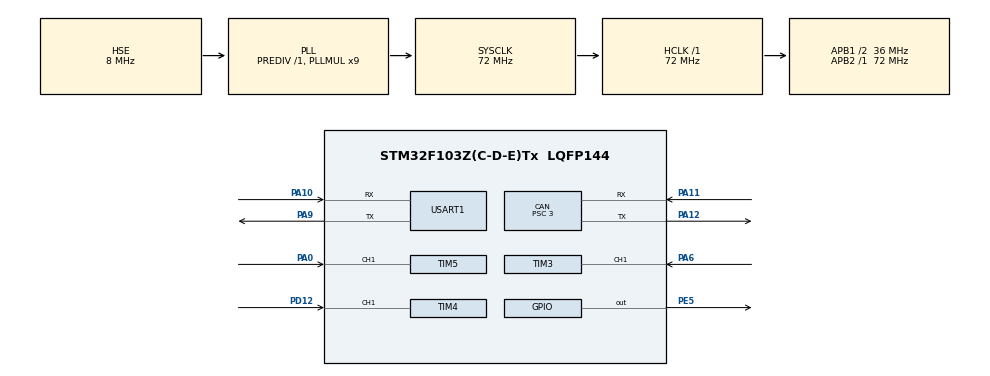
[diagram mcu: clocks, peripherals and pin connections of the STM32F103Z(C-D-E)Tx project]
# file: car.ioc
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CAN.ABOM=ENABLE
CAN.BS1=CAN_BS1_9TQ
CAN.BS2=CAN_BS2_2TQ
CAN.CalculateBaudRate=999999
CAN.CalculateTimeBit=1000
CAN.CalculateTimeQuantum=83.33333333333334
CAN.Prescaler=3
Mcu.Family=STM32F1
Mcu.Name=STM32F103Z(C-D-E)Tx
Mcu.Package=LQFP144
NVIC.CAN1_RX1_IRQn=true\:0\:0\:false\:false\:true\:true\:true\:true
NVIC.PriorityGroup=NVIC_PRIORITYGROUP_4
NVIC.TIM1_UP_IRQn=true\:15\:0\:false\:false\:true\:false\:true\:true
NVIC.TIM2_IRQn=true\:2\:0\:true\:false\:true\:true\:true\:true
NVIC.TIM3_IRQn=true\:0\:0\:false\:false\:true\:true\:true\:true
NVIC.TIM4_IRQn=true\:0\:0\:true\:false\:true\:true\:true\:true
NVIC.TIM5_IRQn=true\:0\:0\:false\:false\:true\:true\:true\:true
NVIC.TimeBase=TIM1_UP_IRQn
NVIC.TimeBaseIP=TIM1
NVIC.USART1_IRQn=true\:0\:0\:true\:false\:true\:true\:true\:true
OSC_IN.Mode=HSE-External-Oscillator
OSC_IN.Signal=RCC_OSC_IN
OSC_OUT.Mode=HSE-External-Oscillator
OSC_OUT.Signal=RCC_OSC_OUT
PA0-WKUP.Signal=S_TIM5_CH1
PA10.Mode=Asynchronous
PA10.Signal=USART1_RX
PA11.Mode=CAN_Activate
PA11.Signal=CAN_RX
PA12.Mode=CAN_Activate
PA12.Signal=CAN_TX
PA13.Mode=Serial_Wire
PA13.Signal=SYS_JTMS-SWDIO
PA14.Mode=Serial_Wire
PA14.Signal=SYS_JTCK-SWCLK
PA6.Signal=S_TIM3_CH1
PA9.Mode=Asynchronous
PA9.Signal=USART1_TX
PC14-OSC32_IN.Mode=LSE-External-Oscillator
PC14-OSC32_IN.Signal=RCC_OSC32_IN
PC15-OSC32_OUT.Mode=LSE-External-Oscillator
PC15-OSC32_OUT.Signal=RCC_OSC32_OUT
PD12.GPIO_PuPd=GPIO_PULLDOWN
PD12.Signal=S_TIM4_CH1
PE5.Signal=GPIO_Output
ProjectManager.HeapSize=0x200
ProjectManager.StackSize=0x400
ProjectManager.TargetToolchain=MDK-ARM V5.32
RCC.AHBFreq_Value=72000000
RCC.APB1CLKDivider=RCC_HCLK_DIV2
RCC.APB1Freq_Value=36000000
RCC.APB1TimFreq_Value=72000000
RCC.APB2Freq_Value=72000000
RCC.APB2TimFreq_Value=72000000
RCC.HCLKFreq_Value=72000000
RCC.PLLMUL=RCC_PLL_MUL9
RCC.PLLSourceVirtual=RCC_PLLSOURCE_HSE
RCC.SYSCLKFreq_VALUE=72000000
RCC.SYSCLKSource=RCC_SYSCLKSOURCE_PLLCLK
RCC.USBFreq_Value=72000000
SH.S_TIM3_CH1.0=TIM3_CH1,Input_Capture1_from_TI1
SH.S_TIM4_CH1.0=TIM4_CH1,Input_Capture1_from_TI1
SH.S_TIM5_CH1.0=TIM5_CH1,Input_Capture1_from_TI1
TIM2.Period=20-1
TIM2.Prescaler=36000-1
TIM3.AutoReloadPreload=TIM_AUTORELOAD_PRELOAD_ENABLE
TIM3.Channel-Input_Capture1_from_TI1=TIM_CHANNEL_1
TIM3.Prescaler=72-1
TIM4.AutoReloadPreload=TIM_AUTORELOAD_PRELOAD_ENABLE
TIM4.Channel-Input_Capture1_from_TI1=TIM_CHANNEL_1
TIM4.Prescaler=72-1
TIM5.AutoReloadPreload=TIM_AUTORELOAD_PRELOAD_ENABLE
TIM5.Channel-Input_Capture1_from_TI1=TIM_CHANNEL_1
TIM5.Prescaler=72-1
USART1.VirtualMode=VM_ASYNC
VP_SYS_VS_tim1.Mode=TIM1
VP_TIM2_VS_ClockSourceINT.Mode=Internal
VP_TIM3_VS_ClockSourceINT.Mode=Internal
VP_TIM4_VS_ClockSourceINT.Mode=Internal
VP_TIM5_VS_ClockSourceINT.Mode=Internal
board=custom

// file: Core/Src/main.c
/* USER CODE BEGIN Header */
/**
  ******************************************************************************
  * @file           : main.c
  * @brief          : Main program body
  ******************************************************************************
  * @attention
  *
  * Copyright (c) 2023 STMicroelectronics.
  * All rights reserved.
  *
  * This software is licensed under terms that can be found in the LICENSE file
  * in the root directory of this software component.
  * If no LICENSE file comes with this software, it is provided AS-IS.
  *
  ******************************************************************************
  */
/* USER CODE END Header */
#include "main.h"
#include "can.h"
#include "tim.h"
#include "usart.h"
#include "gpio.h"

/* USER CODE BEGIN Includes */
#include "control.h"

 #define RXBUFFERSIZE  256
char RxBuffer[RXBUFFERSIZE];
#include <stdio.h>
/* USER CODE END Includes */

/* USER CODE BEGIN PTD */
uint32_t cap_buf_ch1[3]={0};//记录3次捕获的时刻
uint32_t cap_buf_ch2[3]={0};
uint32_t cap_buf_ch3[3]={0};
uint8_t cap_flag=0;//捕获状态
uint8_t ch1=0;//通道捕获标志
uint8_t ch2=0;
uint8_t ch3=0;
double cap_htime_ch1=0;//记录高电平时间
double cap_alltime_ch1=0;//记录一个周期的时间
double cap_htime_ch2=0;
double cap_alltime_ch2=0;
double cap_htime_ch3=0;
double cap_alltime_ch3=0;
uint32_t tim_over=0;//记录溢出次数
double pwm_ch1=0;//记录ch1的pwm占空比
double pwm_ch2=0;//记录ch2的pwm占空比
double pwm_ch3=0;//记录ch3的pwm占空比
short int motor1=0;//记录电机1转速值
short int motor2=0;//记录电机2转速值
short int motor3=0;//记录电机3转速值
short int motor4=0;//记录电机4转速值
short int maximum=20000;
short int diff=0;
double coe=0;
CAN_RxHeaderTypeDef CAN1_RxHander;//声明can接受结构体
CAN_TxHeaderTypeDef CAN1_TxHander;//声明can发送结构体

/* USER CODE END PTD */

/* USER CODE BEGIN PM */
#define IR_IN1 HAL_GPIO_ReadPin(GPIOD,GPIO_PIN_12)
#define IR_IN2 HAL_GPIO_ReadPin(GPIOA,GPIO_PIN_0)
#define IR_IN3 HAL_GPIO_ReadPin(GPIOA,GPIO_PIN_6)
double time_dowmch1_num=0;//下降沿计数
double time_dowmch2_num=0;
double time_dowmch3_num=0;
/* USER CODE END PM */

void SystemClock_Config(void);

/* USER CODE BEGIN 0 */
CAN_TxHeaderTypeDef Can_Tx;
CAN_RxHeaderTypeDef Can_Rx;
int returnRece=0;
uint8_t Rxdata[8];//CAN接收缓冲区
uint8_t Txdata[8] = {0};//CAN发送缓冲区
extern uint8_t can_rx_finish_flag;//接收完成标志位
// 捕获中断回调函数，每次捕获到信号就会进入这个回调函数
void HAL_TIM_IC_CaptureCallback(TIM_HandleTypeDef *htim)
{
 // 判断是否是定时器4的外部捕获口2

 if(htim->Instance == TIM4)
 {
  if(IR_IN1)//第一次上升
  {
   __HAL_TIM_SET_COUNTER(&htim4, 0); // 计数清零，从头开始计
   __HAL_TIM_SET_CAPTUREPOLARITY(&htim4, TIM_CHANNEL_1, TIM_INPUTCHANNELPOLARITY_FALLING); // 改变捕获极性为下降沿捕获
  }
  else if(IR_IN1==0)//下降
  {
   time_dowmch1_num = HAL_TIM_ReadCapturedValue(htim,TIM_CHANNEL_1); // 读取捕获计数，这个时间即为上升沿持续的时间
   HAL_TIM_IC_Stop_IT(&htim4,TIM_CHANNEL_1);//函数用于失能定时器某一通道的输入捕获功能和相应的中断
   __HAL_TIM_SET_CAPTUREPOLARITY(&htim4, TIM_CHANNEL_1, TIM_INPUTCHANNELPOLARITY_RISING); // 改变捕获极性为上升沿沿捕获
  }
 }

 if(htim->Instance == TIM5)
 {
  if(IR_IN2)//第一次上升
  {
   __HAL_TIM_SET_COUNTER(&htim5, 0); // 计数清零，从头开始计
   __HAL_TIM_SET_CAPTUREPOLARITY(&htim5, TIM_CHANNEL_1, TIM_INPUTCHANNELPOLARITY_FALLING); // 改变捕获极性为下降沿捕获
  }
  else if(IR_IN2==0)//下降
  {
   time_dowmch2_num = HAL_TIM_ReadCapturedValue(htim,TIM_CHANNEL_1); // 读取捕获计数，这个时间即为上升沿持续的时间
   HAL_TIM_IC_Stop_IT(&htim5,TIM_CHANNEL_1);//函数用于失能定时器某一通道的输入捕获功能和相应的中断
   __HAL_TIM_SET_CAPTUREPOLARITY(&htim5, TIM_CHANNEL_1, TIM_INPUTCHANNELPOLARITY_RISING); // 改变捕获极性为上升沿沿捕获
  }
 }

  if(htim->Instance == TIM3)
 {
  if(IR_IN3)//第一次上升
  {
   __HAL_TIM_SET_COUNTER(&htim3, 0); // 计数清零，从头开始计
   __HAL_TIM_SET_CAPTUREPOLARITY(&htim3, TIM_CHANNEL_1, TIM_INPUTCHANNELPOLARITY_FALLING); // 改变捕获极性为下降沿捕获
  }
  else if(IR_IN3==0)//下降
  {
   time_dowmch3_num = HAL_TIM_ReadCapturedValue(htim,TIM_CHANNEL_1); // 读取捕获计数，这个时间即为上升沿持续的时间
   HAL_TIM_IC_Stop_IT(&htim3,TIM_CHANNEL_1);//函数用于失能定时器某一通道的输入捕获功能和相应的中断
   __HAL_TIM_SET_CAPTUREPOLARITY(&htim3, TIM_CHANNEL_1, TIM_INPUTCHANNELPOLARITY_RISING); // 改变捕获极性为上升沿沿捕获
  }
 }
}

/* USER CODE END 0 */

int main(void)
{

  /* MCU Configuration--------------------------------------------------------*/

  /* Reset of all peripherals, Initializes the Flash interface and the Systick. */
  HAL_Init();

  /* Configure the system clock */
  SystemClock_Config();

  /* Initialize all configured peripherals */
  MX_GPIO_Init();
  MX_CAN_Init();
  MX_TIM2_Init();
  MX_TIM4_Init();
  MX_USART1_UART_Init();
  MX_TIM3_Init();
  MX_TIM5_Init();
  /* USER CODE BEGIN 2 */

   CAN_User_Init(&hcan);
sendOrder(0x200,CAN_ID_STD,CAN_RTR_DATA,0x08);
   HAL_TIM_IC_Stop_IT(&htim4,TIM_CHANNEL_1);
   HAL_TIM_IC_Stop_IT(&htim5,TIM_CHANNEL_1);
   HAL_TIM_IC_Stop_IT(&htim3,TIM_CHANNEL_1);

/*接收参数*/
receiveOrder(0x201,CAN_ID_STD,0,8);
returnRece=receiveOrder(0x201,CAN_ID_STD,0,8);
         HAL_GPIO_WritePin(GPIOE,GPIO_PIN_5,GPIO_PIN_SET);
          HAL_TIM_IC_Start_IT(&htim4,TIM_CHANNEL_1);//函数用于使能定时器某一通道的输入捕获功能,并使能相应的中断
          pwm_ch1=(time_dowmch1_num-1246)/800;
      HAL_Delay(200);
      printf("ch1:%lf\n",pwm_ch1);
          HAL_TIM_IC_Start_IT(&htim5,TIM_CHANNEL_1);//函数用于使能定时器某一通道的输入捕获功能,并使能相应的中断
          pwm_ch2=(time_dowmch2_num-1098)/800;
      HAL_Delay(200);
      printf("ch2:%lf\n",pwm_ch2);
         HAL_TIM_IC_Start_IT(&htim3,TIM_CHANNEL_1);//函数用于使能定时器某一通道的输入捕获功能,并使能相应的中断
          pwm_ch3=(time_dowmch3_num-1098)/800;
      HAL_Delay(1000);
  /* USER CODE END 2 */

  /* Infinite loop */
  /* USER CODE BEGIN WHILE */
  while (1)
  {
          HAL_TIM_IC_Start_IT(&htim4,TIM_CHANNEL_1);//函数用于使能定时器某一通道的输入捕获功能,并使能相应的中断
          pwm_ch1=(time_dowmch1_num-1246)/800;
          HAL_Delay(10);
          HAL_TIM_IC_Start_IT(&htim5,TIM_CHANNEL_1);//函数用于使能定时器某一通道的输入捕获功能,并使能相应的中断
          pwm_ch2=(time_dowmch2_num-1098)/800;
          HAL_Delay(10);
      printf("ch2:%lf\n",pwm_ch2);
          HAL_TIM_IC_Start_IT(&htim3,TIM_CHANNEL_1);//函数用于使能定时器某一通道的输入捕获功能,并使能相应的中断
          pwm_ch3=(time_dowmch3_num-1098)/800;
          HAL_Delay(10);

          control(pwm_ch1,pwm_ch2,pwm_ch3);
      sendmessage(motor1,motor2,motor3,motor4);
  };
    /* USER CODE END WHILE */

}

void SystemClock_Config(void)
{
  RCC_OscInitTypeDef RCC_OscInitStruct = {0};
  RCC_ClkInitTypeDef RCC_ClkInitStruct = {0};

  /** Initializes the RCC Oscillators according to the specified parameters
  * in the RCC_OscInitTypeDef structure.
  */
  RCC_OscInitStruct.OscillatorType = RCC_OSCILLATORTYPE_HSE;
  RCC_OscInitStruct.HSEState = RCC_HSE_ON;
  RCC_OscInitStruct.HSEPredivValue = RCC_HSE_PREDIV_DIV1;
  RCC_OscInitStruct.HSIState = RCC_HSI_ON;
  RCC_OscInitStruct.PLL.PLLState = RCC_PLL_ON;
  RCC_OscInitStruct.PLL.PLLSource = RCC_PLLSOURCE_HSE;
  RCC_OscInitStruct.PLL.PLLMUL = RCC_PLL_MUL9;
  if (HAL_RCC_OscConfig(&RCC_OscInitStruct) != HAL_OK)
  {
    Error_Handler();
  }

  /** Initializes the CPU, AHB and APB buses clocks
  */
  RCC_ClkInitStruct.ClockType = RCC_CLOCKTYPE_HCLK|RCC_CLOCKTYPE_SYSCLK
                              |RCC_CLOCKTYPE_PCLK1|RCC_CLOCKTYPE_PCLK2;
  RCC_ClkInitStruct.SYSCLKSource = RCC_SYSCLKSOURCE_PLLCLK;
  RCC_ClkInitStruct.AHBCLKDivider = RCC_SYSCLK_DIV1;
  RCC_ClkInitStruct.APB1CLKDivider = RCC_HCLK_DIV2;
  RCC_ClkInitStruct.APB2CLKDivider = RCC_HCLK_DIV1;

  if (HAL_RCC_ClockConfig(&RCC_ClkInitStruct, FLASH_LATENCY_2) != HAL_OK)
  {
    Error_Handler();
  }
}

void HAL_TIM_PeriodElapsedCallback(TIM_HandleTypeDef *htim)
{
  /* USER CODE BEGIN Callback 0 */
  if (htim->Instance == TIM4){
      tim_over++;//每次进入中断溢出值+1
  }
  /* USER CODE END Callback 0 */
  if (htim->Instance == TIM1) {
    HAL_IncTick();
  }
}

void Error_Handler(void)
{
  __disable_irq();
  while (1)
  {
  }
}
